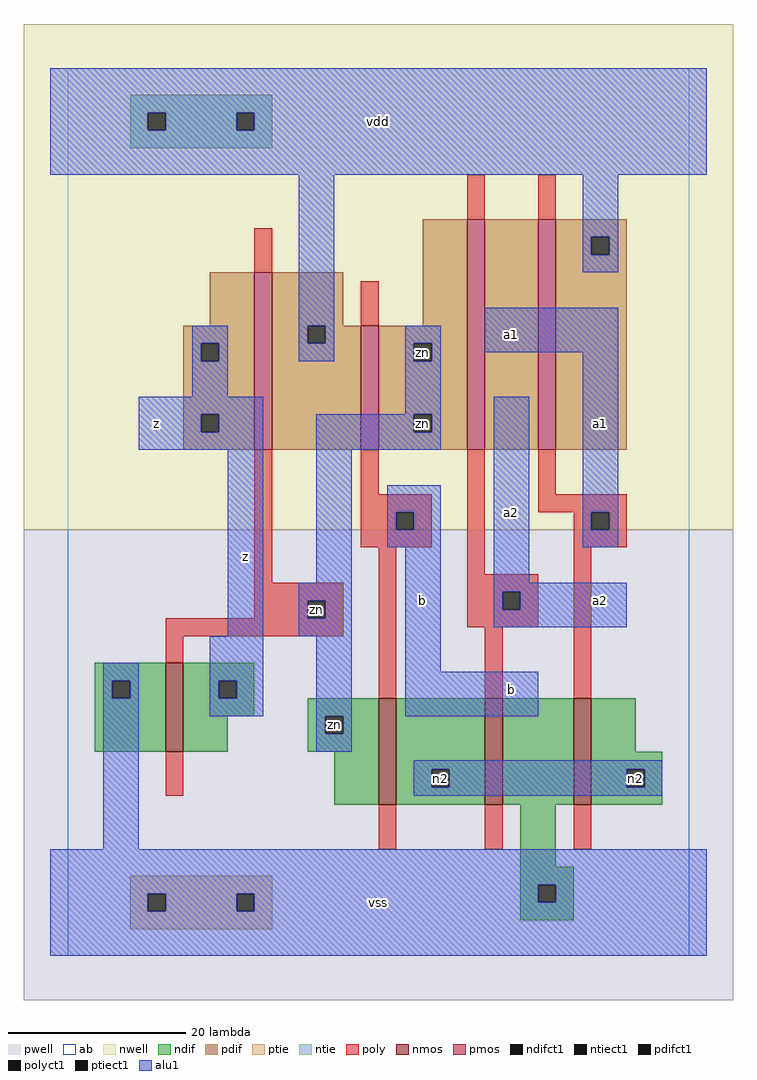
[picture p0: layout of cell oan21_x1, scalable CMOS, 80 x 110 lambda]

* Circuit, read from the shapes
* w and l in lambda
.subckt oan21_x1 a1 a2 b n2 vdd vss z zn
M1 z zn vss vss nfet w=10 l=2
M2 n2 b zn vss nfet w=12 l=2
M3 vss a2 n2 vss nfet w=12 l=2
M4 n2 a1 vss vss nfet w=12 l=2
M5 vdd zn z vdd pfet w=20 l=2
M6 zn b vdd vdd pfet w=14 l=2
M7 n1 a2 zn vdd pfet w=26 l=2
M8 vdd a1 n1 vdd pfet w=26 l=2
.ends

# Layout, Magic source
magic
tech scmos
<< ab >>
rect 0 0 70 100
<< nwell >>
rect -5 48 75 105
<< pwell >>
rect -5 -5 75 48
<< poly >>
rect 45 83 47 88
rect 53 83 55 88
rect 21 77 23 82
rect 33 71 35 76
rect 21 42 23 57
rect 33 52 35 57
rect 33 50 41 52
rect 33 48 37 50
rect 39 48 41 50
rect 33 46 41 48
rect 21 40 31 42
rect 21 38 27 40
rect 29 38 31 40
rect 11 36 31 38
rect 11 33 13 36
rect 35 29 37 46
rect 45 43 47 57
rect 53 52 55 57
rect 53 50 63 52
rect 57 48 59 50
rect 61 48 63 50
rect 57 46 63 48
rect 45 41 53 43
rect 45 39 49 41
rect 51 39 53 41
rect 45 37 53 39
rect 47 29 49 37
rect 57 29 59 46
rect 11 18 13 23
rect 35 12 37 17
rect 47 12 49 17
rect 57 12 59 17
<< ndif >>
rect 3 31 11 33
rect 3 29 5 31
rect 7 29 11 31
rect 3 23 11 29
rect 13 31 21 33
rect 13 29 17 31
rect 19 29 21 31
rect 13 27 21 29
rect 27 27 35 29
rect 13 23 18 27
rect 27 25 29 27
rect 31 25 35 27
rect 27 23 35 25
rect 30 17 35 23
rect 37 21 47 29
rect 37 19 41 21
rect 43 19 47 21
rect 37 17 47 19
rect 49 17 57 29
rect 59 23 64 29
rect 59 21 67 23
rect 59 19 63 21
rect 65 19 67 21
rect 59 17 67 19
rect 51 10 55 17
rect 51 8 57 10
rect 51 6 53 8
rect 55 6 57 8
rect 51 4 57 6
<< pdif >>
rect 16 71 21 77
rect 13 69 21 71
rect 13 67 15 69
rect 17 67 21 69
rect 13 61 21 67
rect 13 59 15 61
rect 17 59 21 61
rect 13 57 21 59
rect 23 71 31 77
rect 40 71 45 83
rect 23 69 27 71
rect 29 69 33 71
rect 23 57 33 69
rect 35 69 45 71
rect 35 67 39 69
rect 41 67 45 69
rect 35 61 45 67
rect 35 59 39 61
rect 41 59 45 61
rect 35 57 45 59
rect 47 57 53 83
rect 55 81 63 83
rect 55 79 59 81
rect 61 79 63 81
rect 55 57 63 79
<< alu1 >>
rect -2 95 72 100
rect -2 93 9 95
rect 11 93 19 95
rect 21 93 72 95
rect -2 88 72 93
rect 26 71 30 88
rect 58 81 62 88
rect 58 79 59 81
rect 61 79 62 81
rect 58 77 62 79
rect 14 69 18 71
rect 14 67 15 69
rect 17 67 18 69
rect 26 69 27 71
rect 29 69 30 71
rect 26 67 30 69
rect 38 69 42 71
rect 38 67 39 69
rect 41 67 42 69
rect 47 68 62 73
rect 14 63 18 67
rect 8 61 22 63
rect 38 61 42 67
rect 8 59 15 61
rect 17 59 22 61
rect 8 57 22 59
rect 18 36 22 57
rect 28 59 39 61
rect 41 59 42 61
rect 28 57 42 59
rect 28 42 32 57
rect 36 50 42 53
rect 36 48 37 50
rect 39 48 42 50
rect 36 46 42 48
rect 26 40 32 42
rect 26 38 27 40
rect 29 38 32 40
rect 26 36 32 38
rect 4 31 8 33
rect 4 29 5 31
rect 7 29 8 31
rect 4 12 8 29
rect 16 31 22 36
rect 16 29 17 31
rect 19 29 22 31
rect 16 27 22 29
rect 28 27 32 36
rect 38 32 42 46
rect 48 42 52 63
rect 58 50 62 68
rect 58 48 59 50
rect 61 48 62 50
rect 58 46 62 48
rect 48 41 63 42
rect 48 39 49 41
rect 51 39 63 41
rect 48 37 63 39
rect 38 27 53 32
rect 28 25 29 27
rect 31 25 32 27
rect 28 23 32 25
rect 39 21 67 22
rect 39 19 41 21
rect 43 19 63 21
rect 65 19 67 21
rect 39 18 67 19
rect -2 8 72 12
rect -2 7 53 8
rect -2 5 9 7
rect 11 5 19 7
rect 21 6 53 7
rect 55 6 72 8
rect 21 5 72 6
rect -2 0 72 5
<< ptie >>
rect 7 7 23 9
rect 7 5 9 7
rect 11 5 19 7
rect 21 5 23 7
rect 7 3 23 5
<< ntie >>
rect 7 95 23 97
rect 7 93 9 95
rect 11 93 19 95
rect 21 93 23 95
rect 7 91 23 93
<< nmos >>
rect 11 23 13 33
rect 35 17 37 29
rect 47 17 49 29
rect 57 17 59 29
<< pmos >>
rect 21 57 23 77
rect 33 57 35 71
rect 45 57 47 83
rect 53 57 55 83
<< polyct1 >>
rect 37 48 39 50
rect 27 38 29 40
rect 59 48 61 50
rect 49 39 51 41
<< ndifct1 >>
rect 5 29 7 31
rect 17 29 19 31
rect 29 25 31 27
rect 41 19 43 21
rect 63 19 65 21
rect 53 6 55 8
<< ntiect1 >>
rect 9 93 11 95
rect 19 93 21 95
<< ptiect1 >>
rect 9 5 11 7
rect 19 5 21 7
<< pdifct1 >>
rect 15 67 17 69
rect 15 59 17 61
rect 27 69 29 71
rect 39 67 41 69
rect 39 59 41 61
rect 59 79 61 81
<< labels >>
rlabel ndifct1 42 20 42 20 6 n2
rlabel ndifct1 30 26 30 26 6 zn
rlabel polyct1 28 39 28 39 6 zn
rlabel pdifct1 40 60 40 60 6 zn
rlabel pdifct1 40 68 40 68 6 zn
rlabel ndifct1 64 20 64 20 6 n2
rlabel alu1 10 60 10 60 6 z
rlabel alu1 20 45 20 45 6 z
rlabel alu1 35 6 35 6 6 vss
rlabel alu1 40 40 40 40 6 b
rlabel alu1 50 30 50 30 6 b
rlabel alu1 50 50 50 50 6 a2
rlabel alu1 50 70 50 70 6 a1
rlabel alu1 35 94 35 94 6 vdd
rlabel alu1 60 40 60 40 6 a2
rlabel alu1 60 60 60 60 6 a1
<< end >>
